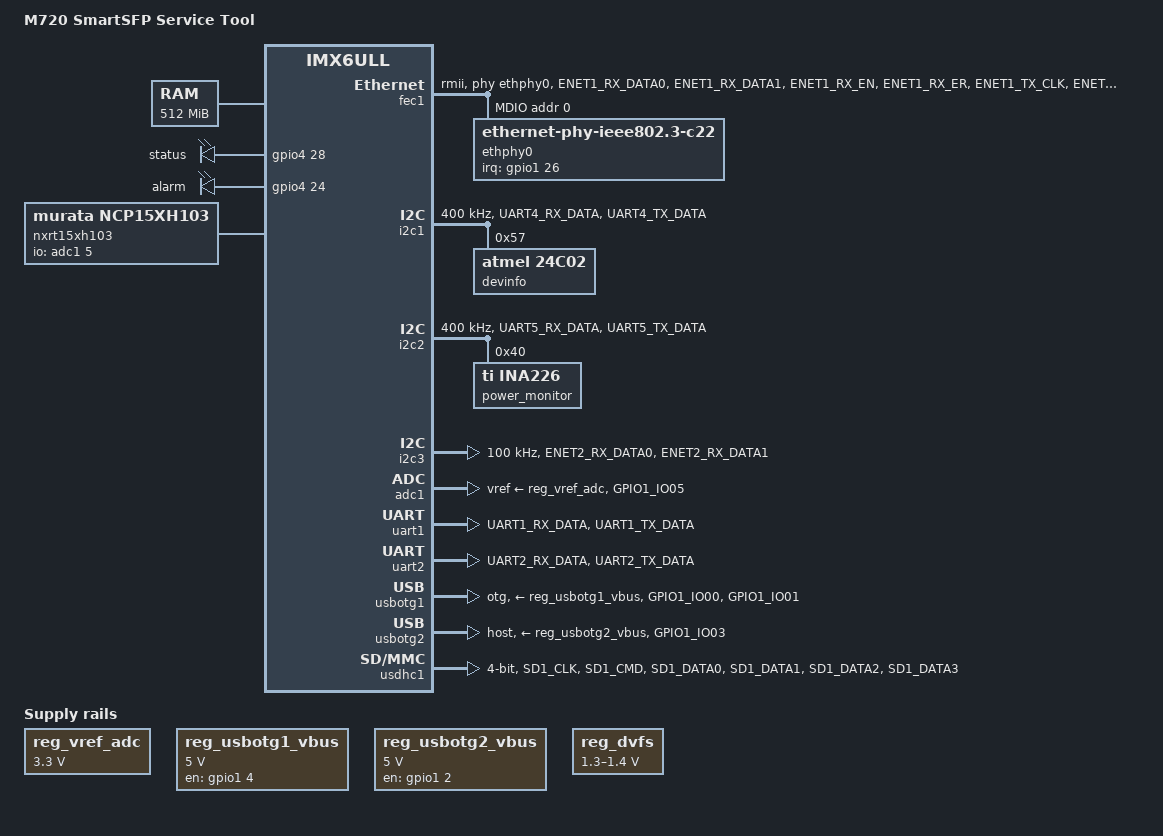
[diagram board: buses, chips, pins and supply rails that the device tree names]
/*
 * Copyright (C) 2016 Freescale Semiconductor, Inc.
 * Copyright 2017 NXP
 *
 * This program is free software; you can redistribute it and/or modify
 * it under the terms of the GNU General Public License version 2 as
 * published by the Free Software Foundation.
 */

/dts-v1/;

#include "imx6ull.dtsi"

/ {
	model = "M720 SmartSFP Service Tool";
	compatible = "stcmtk,ssfp-st", "fsl,imx6ull";

	chosen {
		stdout-path = &uart1;
	};

	memory {
		reg = <0x80000000 0x20000000>;
	};

	reserved-memory {
		#address-cells = <1>;
		#size-cells = <1>;
		ranges;

		linux,cma {
			compatible = "shared-dma-pool";
			reusable;
			size = <0x6000000>;
			linux,cma-default;
		};
	};

	regulators {
		compatible = "simple-bus";
		#address-cells = <1>;
		#size-cells = <0>;

		reg_vref_adc: vref_adc@1 {
			compatible = "regulator-fixed";
			regulator-name = "adc_ref_stub";
			regulator-min-microvolt = <3300000>;
			regulator-max-microvolt = <3300000>;
			regulator-always-on;
		};

		reg_usbotg1_vbus: reg@2 {
			compatible = "regulator-fixed";
			pinctrl-names = "default";
			pinctrl-0 = <&pinctrl_usbotg1_pwr>;
			regulator-name = "usb1_pwr_reg";
			regulator-min-microvolt = <5000000>;
			regulator-max-microvolt = <5000000>;
			enable-active-high;
			gpio = <&gpio1 4 GPIO_ACTIVE_HIGH>;
		};

		reg_usbotg2_vbus: reg@3 {
			compatible = "regulator-fixed";
			pinctrl-names = "default";
			pinctrl-0 = <&pinctrl_usbotg2_pwr>;
			regulator-name = "usb2_pwr_reg";
			regulator-min-microvolt = <5000000>;
			regulator-max-microvolt = <5000000>;
			enable-active-high;
			gpio = <&gpio1 2 GPIO_ACTIVE_HIGH>;
		};

		reg_dvfs: reg@4 {
			compatible = "regulator-gpio";
			pinctrl-names = "default";
			pinctrl-0 = <&pinctrl_dvfs>;
			regulator-name = "cpu_soc_in_reg";
			regulator-type = "voltage";
			regulator-min-microvolt = <1300000>;
			regulator-max-microvolt = <1400000>;
			gpios = <&gpio5 3 GPIO_ACTIVE_HIGH>;
			states = <1300000 0x1
			          1400000 0x0>;
		};
	};

	cpu-leds {
		compatible = "gpio-leds";
		pinctrl-names = "default";
		pinctrl-0 = <&pinctrl_leds>;

		green {
			label = "status";
			linux,default-trigger = "heartbeat";
			gpios = <&gpio4 28 GPIO_ACTIVE_HIGH>;
			default-state = "keep";
		};

		red {
			label = "alarm";
			linux,default-trigger = "none";
			gpios = <&gpio4 24 GPIO_ACTIVE_HIGH>;
			panic-indicator;
			default-state = "off";
		};
	};

	cpu-gpio {
		compatible = "linux,gpio-exporter";
		status = "okay";
		exported-gpios = <&gpio4 3 GPIO_ACTIVE_HIGH>,
				 <&gpio4 4 GPIO_ACTIVE_HIGH>,
				 <&gpio4 7 GPIO_ACTIVE_HIGH>,
				 <&gpio4 8 GPIO_ACTIVE_HIGH>,
				 <&gpio4 9 GPIO_ACTIVE_HIGH>,
				 <&gpio4 10 GPIO_ACTIVE_HIGH>,
				 <&gpio4 14 GPIO_ACTIVE_HIGH>,
				 <&gpio4 15 GPIO_ACTIVE_HIGH>;
		exported-gpio-names = "cpu-sfp-off",
				      "sfp-mod-abs",
				      "cpu-tx-dis",
				      "cpu-tx-fault",
				      "cpu-rx-los",
				      "cpu-ssfp-boot-mode",
				      "cpu-rate-sel",
				      "cpu-lb-disable";
		exported-gpio-directions = "low",
					   "in",
					   "in",
					   "in",
					   "in",
					   "high",
					   "high",
					   "low";
	};

	nxrt15xh103 {
		/* using same charactersics ntc thermistor */
		compatible = "murata,ncp15xh103";
		pullup-uv = <3300000>;
		pullup-ohm = <10000>;
		pulldown-ohm = <0>;
		io-channels = <&adc1 5>;
	};
};

&cpu0 {
	operating-points = <
		/* kHz	uV */
		900000	1275000
		792000	1225000
		528000	1175000
		396000	1025000
		198000	950000
	>;
	/* https://source.codeaurora.org/external/imx/linux-imx/commit/?h=imx_4.14.62_1.0.0_beta&id=214d3ff7901992abfab7c55e169ad1a911119732 */
	fsl,soc-operating-points = <
		/* KHz	uV */
		900000	1250000
		792000	1175000
		528000	1175000
		396000	1175000
		198000	1175000
	>;
	fsl,arm-soc-shared = <0>;
	dc-supply = <&reg_dvfs>;
	clock-frequency = <900000000>;
};

&fec1 {
	pinctrl-names = "default";
	pinctrl-0 = <&pinctrl_enet1 &pinctrl_ethphy0 &pinctrl_mdio0>;
	phy-mode = "rmii";
	phy-handle = <&ethphy0>;
	phy-reset-gpios = <&gpio1 22 GPIO_ACTIVE_HIGH>;
	local-mac-address = [00 21 ce 40 00 01];
	status = "okay";

	mdio {
		#address-cells = <1>;
		#size-cells = <0>;

		ethphy0: ethernet-phy@0 {
			compatible = "ethernet-phy-ieee802.3-c22";
			clocks = <&clks IMX6UL_CLK_ENET_REF>;
			clock-names = "rmii-ref";
			interrupt-parent = <&gpio1>;
			interrupts = <26 IRQ_TYPE_EDGE_FALLING>;
			reg = <0>;
		/*	reset-gpios = <&gpio1 22 GPIO_ACTIVE_HIGH>; */
			max-speed = <100>;
		};
	};
};

&gpc {
	fsl,cpu_pupscr_sw2iso = <0xf>;
	fsl,cpu_pupscr_sw = <0x0>;
	fsl,cpu_pdnscr_iso2sw = <0x1>;
	fsl,cpu_pdnscr_iso = <0x1>;
	fsl,ldo-bypass = <0>; /* DCDC, ldo-enable */
};

&i2c1 {
	clock-frequency = <400000>;
	pinctrl-names = "default";
	pinctrl-0 = <&pinctrl_i2c1>;
	status = "okay";

	devinfo@57 {
		pinctrl-names = "default";
		pinctrl-0 = <&pinctrl_eeprom1>;
		compatible = "atmel,24c02";
		reg = <0x57>;
		pagesize = <16>;
	};
};

&i2c2 {
	clock-frequency = <400000>;
	pinctrl-names = "default";
	pinctrl-0 = <&pinctrl_i2c2>;
	status = "okay";

	power_monitor@40 {
		pinctrl-names = "default";
		pinctrl-0 = <&pinctrl_ina226>;
		compatible = "ti,ina226";
		reg = <0x40>;
		shunt-resistor = <20000>; /* R13=0.02 Ohm */
	};
};

&i2c3 {
	clock-frequency = <100000>;
	pinctrl-names = "default";
	pinctrl-0 = <&pinctrl_i2c3>;
	status = "okay";
};

&iomuxc {
	pinctrl_export: grp-1 {
		fsl,pins = <
			MX6UL_PAD_NAND_DATA01__GPIO4_IO03 0x000010B0 /* CPU_SFP_OFF */
			MX6UL_PAD_NAND_DATA02__GPIO4_IO04 0x000010B0 /* SFP_MOD_ABS */
			MX6UL_PAD_NAND_DATA05__GPIO4_IO07 0x000010B0 /* CPU_TX_DIS */
			MX6UL_PAD_NAND_DATA06__GPIO4_IO08 0x000010B0 /* CPU_TX_FAULT */
			MX6UL_PAD_NAND_DATA07__GPIO4_IO09 0x000010B0 /* CPU_RX_LOS */
			MX6UL_PAD_NAND_ALE__GPIO4_IO10    0x000010B0 /* CPU_SSFP_BOOT_MODE */
			MX6UL_PAD_NAND_CE1_B__GPIO4_IO14  0x000010B0 /* CPU_RATE_SEL */
			MX6UL_PAD_NAND_CLE__GPIO4_IO15    0x000010B0 /* CPU_LB_DISABLE */
		>;
	};

	pinctrl_leds: leds_grp {
		fsl,pins = <
			MX6UL_PAD_CSI_DATA03__GPIO4_IO24 0x000010B0 /* CPU_LED_RED */
			MX6UL_PAD_CSI_DATA07__GPIO4_IO28 0x000010B0 /* CPU_LED_GRN */
		>;
	};

	pinctrl_adc1: adc1grp {
		fsl,pins = <
			MX6UL_PAD_GPIO1_IO05__GPIO1_IO05 0x000000B0
		>;
	};

	pinctrl_enet1: enet1grp {
		fsl,pins = <
			MX6UL_PAD_ENET1_RX_DATA0__ENET1_RDATA00 0x0001B0B0
			MX6UL_PAD_ENET1_RX_DATA1__ENET1_RDATA01 0x0001B0B0
			MX6UL_PAD_ENET1_RX_EN__ENET1_RX_EN      0x0001B0B0
			MX6UL_PAD_ENET1_RX_ER__ENET1_RX_ER      0x0001B0B0
			MX6UL_PAD_ENET1_TX_CLK__ENET1_REF_CLK1  0x400010A9
			MX6UL_PAD_ENET1_TX_DATA0__ENET1_TDATA00 0x0001B0B0
			MX6UL_PAD_ENET1_TX_DATA1__ENET1_TDATA01 0x0001B0B0
			MX6UL_PAD_ENET1_TX_EN__ENET1_TX_EN      0x0001B0B0
		>;
	};

	pinctrl_mdio0: mdio0grp {
		fsl,pins = <
			MX6UL_PAD_GPIO1_IO07__ENET1_MDC  0x0001B0B0
			MX6UL_PAD_GPIO1_IO06__ENET1_MDIO 0x0001F829
		>;
	};

	pinctrl_ethphy0: ethphy0grp {
		fsl,pins = <
			/* ETH 10/100 PHY (D2, Micrel KSZ8081RNB) RESET */
			MX6UL_PAD_UART2_CTS_B__GPIO1_IO22 0x000010B0 /* PHY_nRST */
			MX6UL_PAD_UART3_CTS_B__GPIO1_IO26 0x000010B0 /* PHY_nINT */
		>;
	};

	pinctrl_eeprom1: eeprom1grp {
		fsl,pins = <
			/*
			 * EEPROM write protect
			 *
			 * this pin is not consumed by the eeprom driver,
			 * but we can use it from userspace
			 */
			MX6UL_PAD_NAND_READY_B__GPIO4_IO12 0x000010B0
		>;
	};

	pinctrl_wdog: wdoggrp {
		fsl,pins = <
			MX6UL_PAD_LCD_RESET__WDOG1_WDOG_ANY 0x000030B0
		>;
	};

	pinctrl_i2c1: i2c1grp {
		fsl,pins = <
			MX6UL_PAD_UART4_RX_DATA__I2C1_SDA 0x4001B8B1
			MX6UL_PAD_UART4_TX_DATA__I2C1_SCL 0x4001B8B1
		>;
	};

	pinctrl_i2c2: i2c2grp {
		fsl,pins = <
			MX6UL_PAD_UART5_RX_DATA__I2C2_SDA 0x4001B8B1
			MX6UL_PAD_UART5_TX_DATA__I2C2_SCL 0x4001B8B1
		>;
	};

	pinctrl_i2c3: i2c3grp {
		fsl,pins = <
			MX6UL_PAD_ENET2_RX_DATA0__I2C3_SCL 0x4001B8B1
			MX6UL_PAD_ENET2_RX_DATA1__I2C3_SDA 0x4001B8B1
		>;
	};

	pinctrl_ina226: ina226grp {
		fsl,pins = <
			MX6UL_PAD_ENET2_TX_CLK__GPIO2_IO14 0x000010B0 /* alarm */
		>;
	};

	/* System console */
	pinctrl_uart1: uart1grp {
		fsl,pins = <
			MX6UL_PAD_UART1_RX_DATA__UART1_DCE_RX 0x0001B0B1
			MX6UL_PAD_UART1_TX_DATA__UART1_DCE_TX 0x0001B0B1
		>;
	};

	/* SmartSFP device console */
	pinctrl_uart2: uart2grp {
		fsl,pins = <
			MX6UL_PAD_UART2_RX_DATA__UART2_DCE_RX 0x0001B0B1
			MX6UL_PAD_UART2_TX_DATA__UART2_DCE_TX 0x0001B0B1
		>;
	};

	pinctrl_usdhc1: usdhc1grp {
		fsl,pins = <
			MX6UL_PAD_SD1_CLK__USDHC1_CLK     0x00017059
			MX6UL_PAD_SD1_CMD__USDHC1_CMD     0x00010059
			MX6UL_PAD_SD1_DATA0__USDHC1_DATA0 0x00017059
			MX6UL_PAD_SD1_DATA1__USDHC1_DATA1 0x00017059
			MX6UL_PAD_SD1_DATA2__USDHC1_DATA2 0x00017059
			MX6UL_PAD_SD1_DATA3__USDHC1_DATA3 0x00017059
		>;
	};

	pinctrl_usbotg1: usbotg1grp {
		fsl,pins = <
			MX6UL_PAD_GPIO1_IO00__ANATOP_OTG1_ID 0x00017059
			MX6UL_PAD_GPIO1_IO01__USB_OTG1_OC    0x000010B0
			/* MX6UL_PAD_GPIO1_IO04__USB_OTG1_PWR 0x000010B0 */
		>;
	};

	pinctrl_usbotg1_pwr: usbotgpwr1grp {
		fsl,pins = <
			MX6UL_PAD_GPIO1_IO04__GPIO1_IO04 0x000010B0
		>;
	};

	pinctrl_usbotg2: usbotg2grp {
		fsl,pins = <
			MX6UL_PAD_GPIO1_IO03__USB_OTG2_OC 0x000010B0
			/* MX6UL_PAD_GPIO1_IO02__USB_OTG2_PWR 0x000010B0 */
		>;
	};

	pinctrl_usbotg2_pwr: usbotgpwr2grp {
		fsl,pins = <
			MX6UL_PAD_GPIO1_IO02__GPIO1_IO02 0x000010B0
		>;
	};
};

&iomuxc_snvs {
	pinctrl_dvfs: dvfsgrp {
		fsl,pins = <
			/* GPIO_DVFS */
			MX6UL_PAD_SNVS_TAMPER3__GPIO5_IO03 0x000110A0
		>;
	};
};

&adc1 {
	pinctrl-names = "default";
	pinctrl-0 = <&pinctrl_adc1>;
	vref-supply = <&reg_vref_adc>;
	num-channels = <6>;
	status = "okay";
	#io-channel-cells = <1>;
};

/* System console */
&uart1 {
	pinctrl-names = "default";
	pinctrl-0 = <&pinctrl_uart1>;
	status = "okay";
};

/* SmartSFP device console */
&uart2 {
	pinctrl-names = "default";
	pinctrl-0 = <&pinctrl_uart2>;
	status = "okay";
};

&usbotg1 {
	pinctrl-names = "default";
	pinctrl-0 = <&pinctrl_usbotg1>;
	vbus-supply = <&reg_usbotg1_vbus>;
	dr_mode = "otg";
	srp-disable;
	hnp-disable;
	adp-disable;
	status = "okay";
	disable-overcurrent;
};

&usbotg2 {
	pinctrl-names = "default";
	pinctrl-0 = <&pinctrl_usbotg2>;
	vbus-supply = <&reg_usbotg2_vbus>;
	dr_mode = "host";
	status = "okay";
	disable-overcurrent;
};

&usdhc1 {
	pinctrl-names = "default";
	pinctrl-0 = <&pinctrl_usdhc1>;
	bus-width = <4>;
	no-1-8-v;
	broken-cd;
	status = "okay";
};

&wdog1 {
	pinctrl-names = "default";
	pinctrl-0 = <&pinctrl_wdog>;
	/*
	 *  Enable WDOG1_B and WDOG1_ANY external signals assertion on wdog1
	 *  timeout.
	 */
	fsl,ext-reset-output;
};
